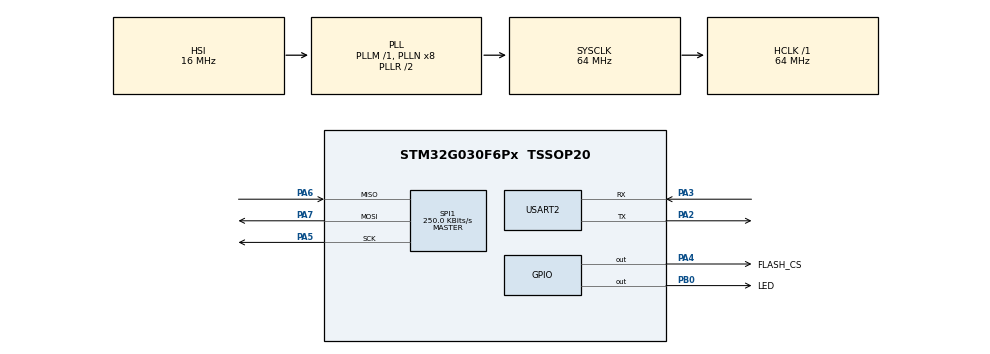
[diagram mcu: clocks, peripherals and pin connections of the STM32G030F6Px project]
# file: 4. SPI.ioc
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Mcu.Family=STM32G0
Mcu.Name=STM32G030F6Px
Mcu.Package=TSSOP20
PA14-BOOT0__PA15.StandardMode=true
PA2.Mode=Asynchronous
PA2.Signal=USART2_TX
PA3.Mode=Asynchronous
PA3.Signal=USART2_RX
PA4.GPIO_Label=FLASH_CS
PA4.Signal=GPIO_Output
PA5.Mode=Full_Duplex_Master
PA5.Signal=SPI1_SCK
PA6.Mode=Full_Duplex_Master
PA6.Signal=SPI1_MISO
PA7.Mode=Full_Duplex_Master
PA7.Signal=SPI1_MOSI
PB0.GPIO_Label=LED
PB0.PinState=GPIO_PIN_SET
PB0.Signal=GPIO_Output
PB0__PB1__PB2__PA8.StandardMode=true
PB3__PB4__PB5__PB6.StandardMode=true
PB7__PB8.StandardMode=true
PC14-OSC32_IN\ (PC14).Mode=LSE-External-Oscillator
PC14-OSC32_IN\ (PC14).Signal=RCC_OSC32_IN
PC14-OSC32_IN\ (PC14)__PB9.StandardMode=true
PC15-OSC32_OUT\ (PC15).Mode=LSE-External-Oscillator
PC15-OSC32_OUT\ (PC15).Signal=RCC_OSC32_OUT
ProjectManager.HeapSize=0x200
ProjectManager.StackSize=0x400
ProjectManager.TargetToolchain=MDK-ARM V5.32
RCC.ADCFreq_Value=64000000
RCC.AHBFreq_Value=64000000
RCC.CortexFreq_Value=64000000
RCC.EXTERNAL_CLOCK_VALUE=12288000
RCC.HCLKFreq_Value=64000000
RCC.HSE_VALUE=8000000
RCC.HSI_VALUE=16000000
RCC.SYSCLKFreq_VALUE=64000000
RCC.SYSCLKSource=RCC_SYSCLKSOURCE_PLLCLK
RCC.VCOOutputFreq_Value=128000000
SPI1.BaudRatePrescaler=SPI_BAUDRATEPRESCALER_256
SPI1.CLKPhase=SPI_PHASE_2EDGE
SPI1.CLKPolarity=SPI_POLARITY_HIGH
SPI1.CalculateBaudRate=250.0 KBits/s
SPI1.Direction=SPI_DIRECTION_2LINES
SPI1.Mode=SPI_MODE_MASTER
SPI1.VirtualType=VM_MASTER
USART2.VirtualMode-Asynchronous=VM_ASYNC
board=custom

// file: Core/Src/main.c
/* USER CODE BEGIN Header */
/**
  ******************************************************************************
  * @file           : main.c
  * @brief          : Main program body
  ******************************************************************************
  * @attention
  *
  * Copyright (c) 2023 STMicroelectronics.
  * All rights reserved.
  *
  * This software is licensed under terms that can be found in the LICENSE file
  * in the root directory of this software component.
  * If no LICENSE file comes with this software, it is provided AS-IS.
  *
  ******************************************************************************
  */
/* USER CODE END Header */
#include "main.h"
#include "spi.h"
#include "usart.h"
#include "gpio.h"

/* USER CODE BEGIN Includes */

#include <stdio.h>
#include <string.h>

#include "delay.h"

#include "w25qxx.h"

/* USER CODE END Includes */

/* USER CODE BEGIN PD */

#define LED_PORT					GPIOB
#define LED_PIN						GPIO_PIN_0
#define LED_ON_STATE				GPIO_PIN_RESET
#define LED_OFF_STATE				GPIO_PIN_SET
#define LED_ON()\
			{\
				HAL_GPIO_WritePin(LED_PORT, LED_PIN, LED_ON_STATE);\
			}
#define LED_OFF()\
			{\
				HAL_GPIO_WritePin(LED_PORT, LED_PIN, LED_OFF_STATE);\
			}

#define BUFF_SIZE			(15)
#define BUFF_ADDR			(0X000000)
#define FLAG_ADDR			(0X000100)
#define FLAG_CHAR			('A')

/* USER CODE END PD */

/* USER CODE BEGIN PV */

static const hw_uint8_t buff[BUFF_SIZE] = "Hello W25QXX!\r\n";

/* USER CODE END PV */

void SystemClock_Config(void);

int main(void)
{

  /* MCU Configuration--------------------------------------------------------*/

  /* Reset of all peripherals, Initializes the Flash interface and the Systick. */
  HAL_Init();

  /* Configure the system clock */
  SystemClock_Config();

  /* Initialize all configured peripherals */
  MX_GPIO_Init();
  MX_SPI1_Init();
  MX_USART2_UART_Init();
  /* USER CODE BEGIN 2 */

  delay_init(64);

  W25QXX_Init();
  hw_uint16_t id = W25QXX_ReadID();
  printf("Flash id: 0X%X\r\n", id);
  if (id == W25Q64) printf("is W25Q64.\r\n");
  else printf("not W25Q64!\r\n");

  hw_uint8_t flag = '\0';
  W25QXX_Read(&flag, FLAG_ADDR, 1);
  if (flag != FLAG_CHAR) {
	  printf("Flash remaking...\r\n");
	  W25QXX_Write((hw_uint8_t*)buff, BUFF_ADDR, BUFF_SIZE);
	  flag = FLAG_CHAR;
	  W25QXX_Write(&flag, FLAG_ADDR, 1);
	  printf("Flash remake OK!\r\n");
  }
  printf("Flash check infor: \r\n");
  hw_uint8_t rx_buff[BUFF_SIZE] = { 0 };
  W25QXX_Read(rx_buff, BUFF_ADDR, BUFF_SIZE);
  printf("%s", rx_buff);

  /* USER CODE END 2 */

  /* Infinite loop */
  /* USER CODE BEGIN WHILE */
  while (1)
  {
	  LED_ON();
	  HAL_Delay(500);
	  LED_OFF();
	  HAL_Delay(500);
    /* USER CODE END WHILE */

  }
}

void SystemClock_Config(void)
{
  RCC_OscInitTypeDef RCC_OscInitStruct = {0};
  RCC_ClkInitTypeDef RCC_ClkInitStruct = {0};

  /** Configure the main internal regulator output voltage
  */
  HAL_PWREx_ControlVoltageScaling(PWR_REGULATOR_VOLTAGE_SCALE1);

  /** Initializes the RCC Oscillators according to the specified parameters
  * in the RCC_OscInitTypeDef structure.
  */
  RCC_OscInitStruct.OscillatorType = RCC_OSCILLATORTYPE_HSI;
  RCC_OscInitStruct.HSIState = RCC_HSI_ON;
  RCC_OscInitStruct.HSIDiv = RCC_HSI_DIV1;
  RCC_OscInitStruct.HSICalibrationValue = RCC_HSICALIBRATION_DEFAULT;
  RCC_OscInitStruct.PLL.PLLState = RCC_PLL_ON;
  RCC_OscInitStruct.PLL.PLLSource = RCC_PLLSOURCE_HSI;
  RCC_OscInitStruct.PLL.PLLM = RCC_PLLM_DIV1;
  RCC_OscInitStruct.PLL.PLLN = 8;
  RCC_OscInitStruct.PLL.PLLP = RCC_PLLP_DIV2;
  RCC_OscInitStruct.PLL.PLLR = RCC_PLLR_DIV2;
  if (HAL_RCC_OscConfig(&RCC_OscInitStruct) != HAL_OK)
  {
    Error_Handler();
  }

  /** Initializes the CPU, AHB and APB buses clocks
  */
  RCC_ClkInitStruct.ClockType = RCC_CLOCKTYPE_HCLK|RCC_CLOCKTYPE_SYSCLK
                              |RCC_CLOCKTYPE_PCLK1;
  RCC_ClkInitStruct.SYSCLKSource = RCC_SYSCLKSOURCE_PLLCLK;
  RCC_ClkInitStruct.AHBCLKDivider = RCC_SYSCLK_DIV1;
  RCC_ClkInitStruct.APB1CLKDivider = RCC_HCLK_DIV1;

  if (HAL_RCC_ClockConfig(&RCC_ClkInitStruct, FLASH_LATENCY_2) != HAL_OK)
  {
    Error_Handler();
  }
}

void Error_Handler(void)
{
  __disable_irq();
  while (1)
  {
  }
}
